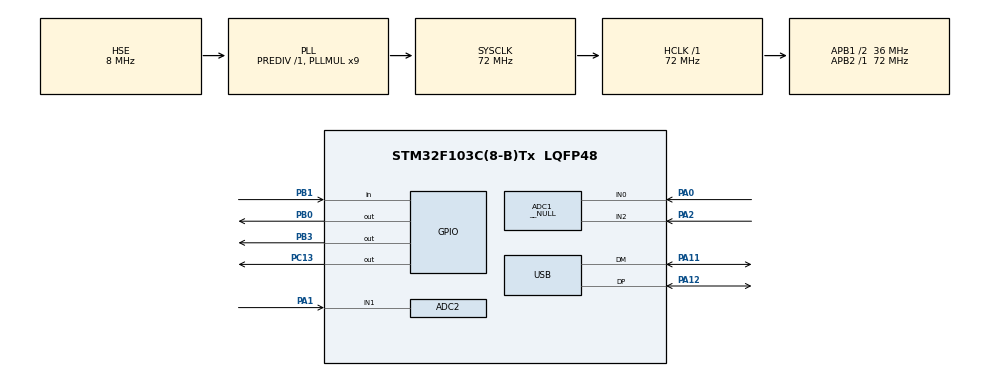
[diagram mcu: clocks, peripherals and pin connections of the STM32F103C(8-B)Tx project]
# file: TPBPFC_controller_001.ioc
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ADC1.Channel-0\#ChannelRegularConversion=ADC_CHANNEL_0
ADC1.Mode=__NULL
ADC1.NbrOfConversionFlag=1
ADC1.Rank-0\#ChannelRegularConversion=1
ADC1.SamplingTime-0\#ChannelRegularConversion=ADC_SAMPLETIME_1CYCLE_5
ADC1.master=1
ADC2.Channel-0\#ChannelRegularConversion=ADC_CHANNEL_1
ADC2.NbrOfConversionFlag=1
ADC2.Rank-0\#ChannelRegularConversion=1
ADC2.SamplingTime-0\#ChannelRegularConversion=ADC_SAMPLETIME_1CYCLE_5
Mcu.Family=STM32F1
Mcu.Name=STM32F103C(8-B)Tx
Mcu.Package=LQFP48
NVIC.PriorityGroup=NVIC_PRIORITYGROUP_4
NVIC.USB_LP_CAN1_RX0_IRQn=true\:0\:0\:false\:false\:true\:false\:true\:true
PA0-WKUP.Signal=ADCx_IN0
PA1.Signal=ADCx_IN1
PA11.Mode=Device
PA11.Signal=USB_DM
PA12.Mode=Device
PA12.Signal=USB_DP
PA13.Mode=Serial_Wire
PA13.Signal=SYS_JTMS-SWDIO
PA14.Mode=Serial_Wire
PA14.Signal=SYS_JTCK-SWCLK
PA2.Signal=ADCx_IN2
PA8.Signal=S_TIM1_CH1
PA9.Signal=S_TIM1_CH2
PB0.Signal=GPIO_Output
PB1.Signal=GPIO_Input
PB13.Signal=TIM1_CH1N
PB14.Signal=TIM1_CH2N
PB3.Signal=GPIO_Output
PC13-TAMPER-RTC.Signal=GPIO_Output
PC14-OSC32_IN.Mode=LSE-External-Oscillator
PC14-OSC32_IN.Signal=RCC_OSC32_IN
PC15-OSC32_OUT.Mode=LSE-External-Oscillator
PC15-OSC32_OUT.Signal=RCC_OSC32_OUT
PD0-OSC_IN.Mode=HSE-External-Oscillator
PD0-OSC_IN.Signal=RCC_OSC_IN
PD1-OSC_OUT.Mode=HSE-External-Oscillator
PD1-OSC_OUT.Signal=RCC_OSC_OUT
ProjectManager.HeapSize=0x200
ProjectManager.StackSize=0x400
ProjectManager.TargetToolchain=STM32CubeIDE
RCC.ADCPresc=RCC_ADCPCLK2_DIV6
RCC.AHBFreq_Value=72000000
RCC.APB1CLKDivider=RCC_HCLK_DIV2
RCC.APB1Freq_Value=36000000
RCC.APB1TimFreq_Value=72000000
RCC.APB2Freq_Value=72000000
RCC.APB2TimFreq_Value=72000000
RCC.HCLKFreq_Value=72000000
RCC.PLLMUL=RCC_PLL_MUL9
RCC.PLLSourceVirtual=RCC_PLLSOURCE_HSE
RCC.SYSCLKFreq_VALUE=72000000
RCC.SYSCLKSource=RCC_SYSCLKSOURCE_PLLCLK
RCC.USBFreq_Value=48000000
RCC.USBPrescaler=RCC_USBCLKSOURCE_PLL_DIV1_5
SH.ADCx_IN0.0=ADC1_IN0,IN0
SH.ADCx_IN1.0=ADC2_IN1,IN1
SH.ADCx_IN2.0=ADC1_IN2,IN2
SH.S_TIM1_CH1.0=TIM1_CH1
SH.S_TIM1_CH2.0=TIM1_CH2
USB_DEVICE.CLASS_NAME_FS=CDC
USB_DEVICE.VirtualMode=Cdc
USB_DEVICE.VirtualModeFS=Cdc_FS
VP_USB_DEVICE_VS_USB_DEVICE_CDC_FS.Mode=CDC_FS
board=custom

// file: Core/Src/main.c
/* USER CODE BEGIN Header */
/**
  ******************************************************************************
  * @file           : main.c
  * @brief          : Main program body
  ******************************************************************************
  * @attention
  *
  * Copyright (c) 2023 STMicroelectronics.
  * All rights reserved.
  *
  * This software is licensed under terms that can be found in the LICENSE file
  * in the root directory of this software component.
  * If no LICENSE file comes with this software, it is provided AS-IS.
  *
  ******************************************************************************
  */
/* USER CODE END Header */
#include "main.h"
#include "usb_device.h"

/* USER CODE BEGIN Includes */
#include "arm_math.h"
#include "arm_math_add.h"
#include "SOGI_PLL.h"
#include "PFC_controller.h"
#include "sequence.h"
#include <stdio.h>
#include "usbd_cdc_if.h"
/* USER CODE END Includes */

/* USER CODE BEGIN PD */
#include "my_const_values.h"
/* USER CODE END PD */

ADC_HandleTypeDef hadc1;
ADC_HandleTypeDef hadc2;

/* USER CODE BEGIN PV */
volatile uint16_t ADC_results[3] = {0};
volatile q15_t eu = 0, Iin = 0, Vo = 32767; // debug
volatile uint32_t timeCnt = 0, subTimeCnt = 0; // debug timeCnt++ per 200us
SOGI_PLL_inst_q15 sogipll;
PFC_ctrl_inst_q15 PFCctrl;
status_inst stat;
/* USER CODE END PV */

void SystemClock_Config(void);
static void MX_GPIO_Init(void);
static void MX_ADC1_Init(void);
static void MX_ADC2_Init(void);
/* USER CODE BEGIN PFP */
static void init_registers(void);
static void start_sequence(void);
static q15_t ADC2Vin(q15_t ADC);
static q15_t ADC2Iin(q15_t ADC);
static q15_t ADC2Vo(q15_t ADC);
/* USER CODE END PFP */

int main(void)
{
  /* USER CODE BEGIN 1 */
	char buf[256];
	uint16_t len = 0;
  /* USER CODE END 1 */

  /* MCU Configuration--------------------------------------------------------*/

  /* Reset of all peripherals, Initializes the Flash interface and the Systick. */
  HAL_Init();

  /* Configure the system clock */
  SystemClock_Config();

  /* Initialize all configured peripherals */
  MX_GPIO_Init();
  MX_ADC1_Init();
  MX_ADC2_Init();
  MX_USB_DEVICE_Init();
  /* USER CODE BEGIN 2 */
  init_registers();
  init_status(&stat);
  init_SOGI_PLL(&sogipll);

  PFCctrl.id_tar = 0;
  PFCctrl.iq_tar = 0;
  init_PFC_ctrl(&PFCctrl);
  len = sprintf(buf, "TPB-PFC v010\n\rsoftware v001\n\rdesigned by EMLauncher\n\r");
  CDC_Transmit_FS((uint8_t *)buf, len);
  len = sprintf(buf, "initializing ...");
  CDC_Transmit_FS((uint8_t *)buf, len);
  start_sequence();
  len = sprintf(buf, "OK\n\r");
  CDC_Transmit_FS((uint8_t *)buf, len);

  /* USER CODE END 2 */

  /* Infinite loop */
  /* USER CODE BEGIN WHILE */
  while (1)
  {
	  len = sprintf(buf, "%ld,%d,%d,%d,%d\n\r", timeCnt, sogipll.ea, Iin, Vo, stat.flags);
	  // len = sprintf(buf, "%d\n\r", status);
	  CDC_Transmit_FS((uint8_t *)buf, len);
	  // HAL_Delay(1);
    /* USER CODE END WHILE */

  }
}

void SystemClock_Config(void)
{
	HAL_RCC_DeInit();
  RCC_OscInitTypeDef RCC_OscInitStruct = {0};
  RCC_ClkInitTypeDef RCC_ClkInitStruct = {0};
  RCC_PeriphCLKInitTypeDef PeriphClkInit = {0};

  /** Initializes the RCC Oscillators according to the specified parameters
  * in the RCC_OscInitTypeDef structure.
  */
  RCC_OscInitStruct.OscillatorType = RCC_OSCILLATORTYPE_HSE;
  RCC_OscInitStruct.HSEState = RCC_HSE_ON;
  RCC_OscInitStruct.HSEPredivValue = RCC_HSE_PREDIV_DIV1;
  RCC_OscInitStruct.HSIState = RCC_HSI_ON;
  RCC_OscInitStruct.PLL.PLLState = RCC_PLL_ON;
  RCC_OscInitStruct.PLL.PLLSource = RCC_PLLSOURCE_HSE;
  RCC_OscInitStruct.PLL.PLLMUL = RCC_PLL_MUL9;
  if (HAL_RCC_OscConfig(&RCC_OscInitStruct) != HAL_OK)
  {
    Error_Handler();
  }

  /** Initializes the CPU, AHB and APB buses clocks
  */
  RCC_ClkInitStruct.ClockType = RCC_CLOCKTYPE_HCLK|RCC_CLOCKTYPE_SYSCLK
                              |RCC_CLOCKTYPE_PCLK1|RCC_CLOCKTYPE_PCLK2;
  RCC_ClkInitStruct.SYSCLKSource = RCC_SYSCLKSOURCE_PLLCLK;
  RCC_ClkInitStruct.AHBCLKDivider = RCC_SYSCLK_DIV1;
  RCC_ClkInitStruct.APB1CLKDivider = RCC_HCLK_DIV2;
  RCC_ClkInitStruct.APB2CLKDivider = RCC_HCLK_DIV1;

  if (HAL_RCC_ClockConfig(&RCC_ClkInitStruct, FLASH_LATENCY_2) != HAL_OK)
  {
    Error_Handler();
  }
  PeriphClkInit.PeriphClockSelection = RCC_PERIPHCLK_ADC|RCC_PERIPHCLK_USB;
  PeriphClkInit.AdcClockSelection = RCC_ADCPCLK2_DIV6;
  PeriphClkInit.UsbClockSelection = RCC_USBCLKSOURCE_PLL_DIV1_5;
  if (HAL_RCCEx_PeriphCLKConfig(&PeriphClkInit) != HAL_OK)
  {
    Error_Handler();
  }
}

static void MX_ADC1_Init(void)
{

  ADC_ChannelConfTypeDef sConfig = {0};

  /** Common config
  */
  hadc1.Instance = ADC1;
  hadc1.Init.ScanConvMode = ADC_SCAN_DISABLE;
  hadc1.Init.ContinuousConvMode = DISABLE;
  hadc1.Init.DiscontinuousConvMode = DISABLE;
  hadc1.Init.ExternalTrigConv = ADC_SOFTWARE_START;
  hadc1.Init.DataAlign = ADC_DATAALIGN_RIGHT;
  hadc1.Init.NbrOfConversion = 1;
  if (HAL_ADC_Init(&hadc1) != HAL_OK)
  {
    Error_Handler();
  }

  /** Configure Regular Channel
  */
  sConfig.Channel = ADC_CHANNEL_0;
  sConfig.Rank = ADC_REGULAR_RANK_1;
  sConfig.SamplingTime = ADC_SAMPLETIME_1CYCLE_5;
  if (HAL_ADC_ConfigChannel(&hadc1, &sConfig) != HAL_OK)
  {
    Error_Handler();
  }

}

static void MX_ADC2_Init(void)
{

  ADC_ChannelConfTypeDef sConfig = {0};

  /** Common config
  */
  hadc2.Instance = ADC2;
  hadc2.Init.ScanConvMode = ADC_SCAN_DISABLE;
  hadc2.Init.ContinuousConvMode = DISABLE;
  hadc2.Init.DiscontinuousConvMode = DISABLE;
  hadc2.Init.ExternalTrigConv = ADC_SOFTWARE_START;
  hadc2.Init.DataAlign = ADC_DATAALIGN_RIGHT;
  hadc2.Init.NbrOfConversion = 1;
  if (HAL_ADC_Init(&hadc2) != HAL_OK)
  {
    Error_Handler();
  }

  /** Configure Regular Channel
  */
  sConfig.Channel = ADC_CHANNEL_1;
  sConfig.Rank = ADC_REGULAR_RANK_1;
  sConfig.SamplingTime = ADC_SAMPLETIME_1CYCLE_5;
  if (HAL_ADC_ConfigChannel(&hadc2, &sConfig) != HAL_OK)
  {
    Error_Handler();
  }

}

static void MX_GPIO_Init(void)
{
  GPIO_InitTypeDef GPIO_InitStruct = {0};

  /* GPIO Ports Clock Enable */
  __HAL_RCC_GPIOC_CLK_ENABLE();
  __HAL_RCC_GPIOD_CLK_ENABLE();
  __HAL_RCC_GPIOA_CLK_ENABLE();
  __HAL_RCC_GPIOB_CLK_ENABLE();

  /*Configure GPIO pin Output Level */
  HAL_GPIO_WritePin(GPIOC, GPIO_PIN_13, GPIO_PIN_RESET);

  /*Configure GPIO pin Output Level */
  HAL_GPIO_WritePin(GPIOB, GPIO_PIN_0|GPIO_PIN_3, GPIO_PIN_RESET);

  /*Configure GPIO pin : PC13 */
  GPIO_InitStruct.Pin = GPIO_PIN_13;
  GPIO_InitStruct.Mode = GPIO_MODE_OUTPUT_PP;
  GPIO_InitStruct.Pull = GPIO_NOPULL;
  GPIO_InitStruct.Speed = GPIO_SPEED_FREQ_LOW;
  HAL_GPIO_Init(GPIOC, &GPIO_InitStruct);

  /*Configure GPIO pins : PB0 PB3 */
  GPIO_InitStruct.Pin = GPIO_PIN_0|GPIO_PIN_3;
  GPIO_InitStruct.Mode = GPIO_MODE_OUTPUT_PP;
  GPIO_InitStruct.Pull = GPIO_NOPULL;
  GPIO_InitStruct.Speed = GPIO_SPEED_FREQ_LOW;
  HAL_GPIO_Init(GPIOB, &GPIO_InitStruct);

  /*Configure GPIO pin : PB1 */
  GPIO_InitStruct.Pin = GPIO_PIN_1;
  GPIO_InitStruct.Mode = GPIO_MODE_INPUT;
  GPIO_InitStruct.Pull = GPIO_NOPULL;
  HAL_GPIO_Init(GPIOB, &GPIO_InitStruct);

  /*Configure GPIO pins : PB13 PB14 */
  GPIO_InitStruct.Pin = GPIO_PIN_13|GPIO_PIN_14;
  GPIO_InitStruct.Mode = GPIO_MODE_AF_PP;
  GPIO_InitStruct.Speed = GPIO_SPEED_FREQ_LOW;
  HAL_GPIO_Init(GPIOB, &GPIO_InitStruct);

  /*Configure GPIO pins : PA8 PA9 */
  GPIO_InitStruct.Pin = GPIO_PIN_8|GPIO_PIN_9;
  GPIO_InitStruct.Mode = GPIO_MODE_AF_PP;
  GPIO_InitStruct.Speed = GPIO_SPEED_FREQ_LOW;
  HAL_GPIO_Init(GPIOA, &GPIO_InitStruct);

}

/* USER CODE BEGIN 4 */
static void init_registers(void) {
	// initialize GPIO
	GPIOB->ODR |= PORTB_STOP_Msk; // cut off all PWM ports
	GPIOB->ODR &= ~PORTB_S84_Msk; // 84 relay OFF

	// initialize ADC1
	ADC1->CR2 &= ~ADC_CR2_ADON; // ADC off
	// ADC1->CR1 |= (ADC_CR1_JEOCIE | ADC_CR1_EOCIE); // end of regular/injected conversion interrupt enable (for DMA)
	ADC1->CR2 &= ~ADC_CR2_CONT; // single conversion mode
	ADC1->CR2 |= (ADC_CR2_EXTTRIG | ADC_CR2_JEXTTRIG); // external trigger mode for regular/injected channels
	ADC1->CR2 |= (7U << ADC_CR2_EXTSEL_Pos); // external trigger for regular channels: SWSTART
	ADC1->CR2 |= (7U << ADC_CR2_JEXTSEL_Pos); // external trigger for injected channels: JSWSTART
	// ADC1->CR2 |= ADC_CR2_DMA; // enable DMA
	ADC1->SMPR2 |= (3U << ADC_SMPR2_SMP2_Pos) | (3U << ADC_SMPR2_SMP0_Pos); // 28.5 cycles ch2, ch0
	ADC1->SQR1 |= (0U << ADC_SQR1_L_Pos); // regular channel sequence length: 1
	ADC1->SQR3 |= (2U << ADC_SQR3_SQ1_Pos); // regular channel sequence: ch2,
	ADC1->JSQR |= (0U << ADC_JSQR_JL_Pos); // injected channel sequence length: 1
	ADC1->JSQR |= (0U << ADC_JSQR_JSQ4_Pos); // injected channel sequence: ch0, (caution: JSQ4 -> JSQ3 ->JSQ2 -> JSQ1)
	ADC1->CR2 |= ADC_CR2_ADON; // ADC on
	ADC1->CR2 |= ADC_CR2_RSTCAL; // reset CAL registers
	while (ADC1->CR2 & ADC_CR2_RSTCAL);
	ADC1->CR2 |= ADC_CR2_CAL; // CAL
	while (ADC1->CR2 & ADC_CR2_CAL);
	// NVIC_EnableIRQ(ADC1_2_IRQn); // enable interrupt for NVIC

	// initialize ADC2 (slave of ADC1)
	ADC2->CR2 &= ~ADC_CR2_ADON; // ADC off
	ADC2->CR1 |= ADC_CR1_DISCEN; // reset CR2
	ADC2->CR2 |= ADC_CR2_EXTTRIG; // external trigger mode for regular channels
	ADC2->CR2 |= (7U << ADC_CR2_EXTSEL_Pos); // external trigger for regular channels: SWSTART
	ADC2->SMPR2 |= (3U << ADC_SMPR2_SMP1_Pos); // 28.5 cycles ch1
	ADC2->SQR1 |= (0U << ADC_SQR1_L_Pos); // regular channel sequence length: 1
	ADC2->SQR3 |= (1U << ADC_SQR3_SQ1_Pos); // regular channel sequence: ch1,
	ADC2->CR2 |= ADC_CR2_ADON; // ADC on
	ADC2->CR2 |= ADC_CR2_RSTCAL; // reset CAL registers
	while (ADC2->CR2 & ADC_CR2_RSTCAL);
	ADC2->CR2 |= ADC_CR2_CAL; // CAL
	while (ADC2->CR2 & ADC_CR2_CAL);

	ADC1->CR1 |= (1U << ADC_CR1_DUALMOD_Pos); // dual mode: Combined regular simultaneous + injected simultaneous mode

	/* memo: read regular channels
	ADC1->CR2 |= ADC_CR2_SWSTART; // start conversion for regular channels
	while(!(ADC1->SR & ADC_SR_EOC)); // wait
	ADC_results[0] = ADC1->DR & ADC_DR_DATA; // result of ADC1 for regular channels
	ADC_results[1] = ADC2->DR; // result of ADC2 for regular channels
	*/

	/* memo: read injected channels
	ADC1->CR2 |= ADC_CR2_JSWSTART; // start conversion for injected channels
	while(!(ADC1->SR & ADC_SR_JEOC)); // wait
	ADC_results[2] = ADC1->JDR1; // result of ADC1 for injected channels (first sequence)
	*/

	// initialize TIM1
	RCC->APB2ENR |= RCC_APB2ENR_TIM1EN; // clock enable
	TIM1->CR1 |= TIM_CR1_ARPE; // ARR is buffered.
	TIM1->CR1 &= ~(TIM_CR1_CMS | TIM_CR1_DIR); // edge-aligned mode, upcounter
	TIM1->CR1 |= TIM_CR1_URS; // only overflow generates UEV
	TIM1->DIER |= TIM_DIER_UIE; // interrupt enable.
	TIM1->PSC = 1 - 1; // prescaler 1/1
	TIM1->ARR = DUTY_ONE - 1; // period=(ARR+1)*1/72[us]=25[us]
	TIM1->RCR = 1; // UEV generates by 2 times overflow
	TIM1->BDTR |= (0x0000 + 72) << TIM_BDTR_DTG_Pos; // dead-time=(0+72)*1/72[us]
	// TIM1->BDTR |= TIM_BDTR_BKE; // BRK input enable
	// TIM1->BDTR |= TIM_BDTR_BKP; // BRK is active-high
	// TIM1->DIER |= TIM_DIER_BIE; // BRK interrupt enable
	// TIM1->BDTR |= TIM_BDTR_OSSI;
	TIM1->CCMR1 |= (6U << TIM_CCMR1_OC1M_Pos) | TIM_CCMR1_OC1PE | TIM_CCMR1_OC1FE; // CC1:PWM mode 1, preload, fast mode
	TIM1->CCMR1 |= (6U << TIM_CCMR1_OC2M_Pos) | TIM_CCMR1_OC2PE | TIM_CCMR1_OC2FE;
	TIM1->CCER |= TIM_CCER_CC1E | TIM_CCER_CC1NE; // CC1, CC1N:output enable
	TIM1->CCER |= TIM_CCER_CC2E | TIM_CCER_CC2NE;
	TIM1->CCR1 = 1500;
	NVIC_EnableIRQ(TIM1_UP_IRQn); // enable TIM1 update IRQHandler

	// initialize TIM2
	RCC->APB1ENR |= RCC_APB1ENR_TIM2EN; // clock enable
	TIM2->CR1 |= TIM_CR1_ARPE; // Auto-reload preload enable
	TIM2->CR1 &= ~(TIM_CR1_CMS | TIM_CR1_DIR); // edge-aligned mode, upcounter
	TIM2->CR1 |= TIM_CR1_URS; // only overflow generates UEV
	TIM2->DIER |= TIM_DIER_UIE; // interrupt enable
	TIM2->PSC = 72 - 1; // prescaler 1/72
	TIM2->ARR = 1000 - 1; // period=1ms
	TIM2->RCR = 0;
	NVIC_EnableIRQ(TIM2_IRQn);
}

static void start_sequence(void) {
	q31_t tmp_q31;

	// 1. start to calculate SOGI-PLL
	ADC1->CR2 |= ADC_CR2_SWSTART; // start conversion for regular channels
	TIM1->CR1 |= TIM_CR1_CEN; // counter enable
	// マイコンの電源だけ先に入っている場合に備えて入力電圧が上昇するまで待機
	while(sogipll.eu < VDQ_UVLO) {}
	HAL_Delay(300); // wait 300ms 15cycles@50Hz for charging main cap.
	GPIOB->ODR |= PORTB_S84_Msk; // turn on 84 relay
	HAL_Delay(15); // 二次突入電流の収束を待つ

	// 2. Voの初期値計測
	tmp_q31 = 0L;
	for (uint8_t i = 0; i < VO_SAMPLE_CNT; i++) {
		ADC1->CR2 |= ADC_CR2_JSWSTART; // start conversion for injected channels
		while(!(ADC1->SR & ADC_SR_JEOC)); // wait
		ADC_results[2] = ADC1->JDR1; // result of ADC1 for injected channels (first sequence)
		tmp_q31 += ADC_results[2];
		HAL_Delay(2);
	}
	tmp_q31 /= VO_SAMPLE_CNT;
	Vo = ADC2Vo((q15_t)tmp_q31);
	PFCctrl.voPI.y_target = Vo; // target of Vo initialized as measured Vo
	PFCctrl.voPI.y_target += (q15_t)VO_TARGET_START_MERGIN;

	// 3. SOGI-PLLの収束判定
	HAL_Delay(1000); // テキトーに1秒待つ
	stat.flags |= PLL_LOCKED;

	// 4. synchronize Line Phase. ea=+0(theta=pi/2)からスタートする
	while(sogipll.ea > -VDQ_UVLO);
	while(sogipll.ea < 0);

	// 5. 制御器の初期化
	TIM1->DIER &= ~TIM_DIER_UIE; // update interrupt disable
	TIM2->DIER &= ~TIM_DIER_UIE;

	// 初期値の設定
	set_init_PFC_ctrl(&PFCctrl, &sogipll, Vo);
	timeCnt = 0L;

	// 電圧制御器起動
	TIM2->CR1 |= TIM_CR1_CEN;

	TIM1->DIER |= TIM_DIER_UIE; // update interrupt enable
	TIM2->DIER |= TIM_DIER_UIE;

	GPIOB->ODR &= ~PORTB_STOP_Msk; // enable all PWM ports
	TIM1->BDTR |= TIM_BDTR_AOE; // MOE after next UEV
}

// TIM1 update interrupt
void TIM1_UP_IRQHandler(void) {
	TIM1->DIER &= ~TIM_DIER_UIE; // update interrupt disable
	// GPIOC->ODR |= GPIO_ODR_ODR13; // PC13 H debug

	while(!(ADC1->SR & ADC_SR_EOC)); // wait
	ADC_results[0] = ADC1->DR & ADC_DR_DATA; // result of ADC1 for regular channels
	ADC_results[1] = ADC2->DR; // result of ADC2 for regular channels
	eu = ADC2Vin(ADC_results[0]);
	update_SOGI_PLL(&sogipll, eu);
	// set_id_synchro(&PFCctrl, &sogipll);
	// debug
	/*
	if (sogipll.state == SOGI_PLL_PICTRL) {
		GPIOC->ODR |= GPIO_ODR_ODR13; // PC13 H debug
	} else {
		GPIOC->ODR &= ~GPIO_ODR_ODR13; // PC13 L debug
	}
	*/

	Iin = ADC2Iin(ADC_results[1]);
	update_PFC_ctrl_iab(&PFCctrl, &sogipll, Iin);

	detectSoftOCP(&stat, &PFCctrl);
	detectHardOCP(&stat);
	detectUVLO(&stat, &sogipll);

	calc_duty(&PFCctrl);
	TIM1->CCR1 = PFCctrl.duty;
	TIM1->CCR2 = PFCctrl.sig;

	ADC1->CR2 |= ADC_CR2_SWSTART; // start conversion for regular channels

	/* debug */
	subTimeCnt++;
	subTimeCnt %= 4;
	timeCnt += subTimeCnt;
	/* debug END */

	// GPIOC->ODR &= ~GPIO_ODR_ODR13; // PC13 L debug
	TIM1->SR &= ~TIM_SR_UIF; // clear update flag
	TIM1->DIER |= TIM_DIER_UIE; // update interrupt enable
}

// TIM2 interrupt
void TIM2_IRQHandler(void) {
	TIM2->DIER &= ~TIM_DIER_UIE;

	if (ADC1->SR & ADC_SR_JEOC) { // 変換完了
		// 普通、変換は完了している
		ADC_results[2] = ADC1->JDR1; // result of ADC1 for injected channels (first sequence)
		Vo = ADC2Vo(ADC_results[2]);
	} else {
		// dot nothing
	}

	// 出力電圧PI制御
	update_PFC_ctrl_vo(&PFCctrl, Vo);
	detectOVP(&stat, &PFCctrl);
	PFCctrl.id_tar = PFCctrl.voPI.u; // id目標値の更新

	ADC1->CR2 |= ADC_CR2_JSWSTART; // start conversion for injected channels

	TIM2->SR &= ~TIM_SR_UIF;
	TIM2->DIER |= TIM_DIER_UIE;
}

static q15_t ADC2Vin(q15_t ADC) {
	q31_t tmp_q31;

	tmp_q31 = (q31_t)ADC - VIN_OFFSET; // 2^12==1.0[V/V]
	tmp_q31 *= VIN_GAIN_Q4_11;
	tmp_q31 += 1L << 10;
	tmp_q31 >>= 11; // 2^15==1000V
	return (q15_t)tmp_q31;
}

static q15_t ADC2Iin(q15_t ADC) {
	q31_t tmp_q31;

	tmp_q31 = (q31_t)ADC - IIN_OFFSET;
	tmp_q31 *= IIN_GAIN_Q4_11;
	tmp_q31 += 1L << 10;
	tmp_q31 >>= 11; // 2^15==100A
	return (q15_t)tmp_q31;
}

static q15_t ADC2Vo(q15_t ADC) {
	q31_t tmp_q31;

	tmp_q31 = (q31_t)ADC - VO_OFFSET;
	tmp_q31 *= VO_GAIN_Q4_11;
	tmp_q31 += 1L << 10;
	tmp_q31 >>= 11;
	return (q15_t)tmp_q31;
}

/* USER CODE END 4 */

void Error_Handler(void)
{
  __disable_irq();
  while (1)
  {
  }
}
